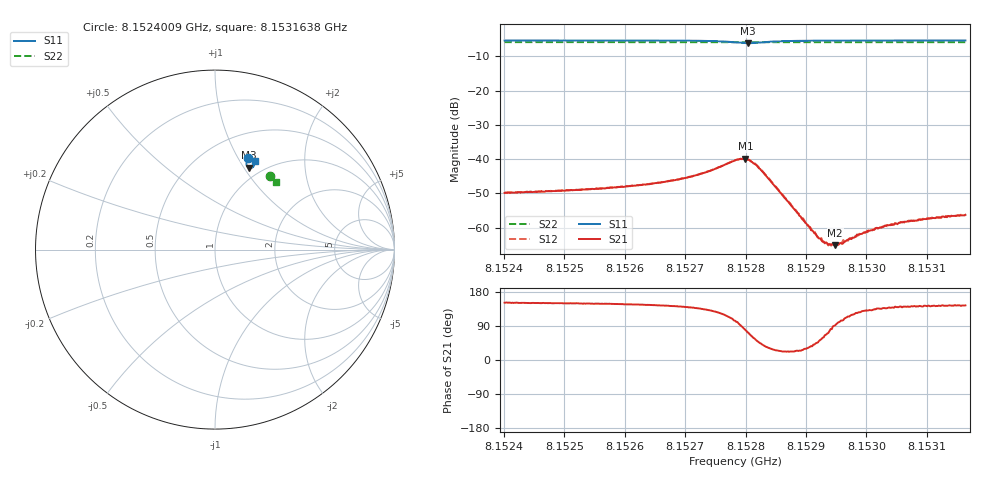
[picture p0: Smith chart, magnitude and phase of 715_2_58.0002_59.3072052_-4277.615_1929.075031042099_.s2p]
#  HZ  S  RI  R  50.00
! Rohde & Schwarz Vector Network Analyzer
! Rohde-Schwarz,ZNB20-2Port,1311601062101988,3.16
! Created: UTC 3/21/2024, 1:22:20 AM
! freq[Hz]  re:S11  im:S11  re:S21  im:S21  re:S12  im:S12  re:S22  im:S22
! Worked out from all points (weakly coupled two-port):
!   401 points, 8.1524009 GHz to 8.1531638 GHz, reference 50 ohm
!   highest |S21| = -39.89 dB at 8.1527995 GHz (marker M1); lowest = -65.1 dB at 8.1529483 GHz (marker M2)
!   lowest |S11| = -6.1 dB at 8.1528033 GHz (marker M3), VSWR 2.95, Z = 43.8 + j52.7 ohm
!   |S11| at or under -10 dB: nowhere
!   |S22| runs from -5.9 to -5.8 dB; largest |S21 - S12| = 0.00039
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8.15240087e9  0.183 0.5086  -0.00281 0.00154  -0.00281 0.00159  0.3058 0.4097
8.15252866e9  0.193 0.5047  -0.00306 0.00182  -0.00308 0.0019  0.3121 0.4046
8.15260114e9  0.1995 0.5018  -0.00332 0.00215  -0.00333 0.00222  0.3157 0.4018
8.15265645e9  0.2052 0.4986  -0.00367 0.00263  -0.00365 0.00269  0.3184 0.3993
8.15268697e9  0.209 0.4959  -0.00394 0.0031  -0.00392 0.00317  0.32 0.398
8.15272321e9  0.2143 0.4903  -0.00431 0.00416  -0.00427 0.00426  0.3217 0.3964
8.15278234e9  0.2131 0.4615  -0.00226 0.0093  -0.00217 0.00934  0.324 0.3931
8.1527995e9  0.1946 0.4545  0.00187 0.00995  0.00191 0.00997  0.3241 0.3924
8.15280332e9  0.1896 0.4557  0.00284 0.00935  0.00288 0.00948  0.3242 0.3923
8.15281476e9  0.1782 0.4649  0.0047 0.00711  0.00485 0.00719  0.3244 0.3924
8.15282811e9  0.1753 0.4785  0.00501 0.00416  0.00512 0.0042  0.3252 0.3923
8.15291013e9  0.1981 0.4987  0.000733 0.000537  0.000735 0.000538  0.33 0.3894
8.15291966e9  0.1998 0.4986  0.000499 0.000526  0.000486 0.000522  0.3305 0.3891
8.15293111e9  0.2016 0.4985  0.000244 0.000534  0.000257 0.000528  0.3312 0.3886
8.15293874e9  0.2028 0.4985  0.000132 0.000548  0.000152 0.000557  0.3315 0.3884
8.15294827e9  0.204 0.4983  -1.8e-05 0.000558  -1.17e-05 0.00059  0.332 0.3877
8.1529559e9  0.2052 0.4982  -0.000114 0.000582  -8.94e-05 0.000554  0.3323 0.3876
8.15299977e9  0.2102 0.4971  -0.000562 0.000653  -0.000556 0.000674  0.3345 0.3855
8.15303792e9  0.214 0.4961  -0.000811 0.000715  -0.000805 0.000739  0.3363 0.3841
8.15305699e9  0.2155 0.4956  -0.000933 0.000755  -0.000907 0.000789  0.3372 0.3831
8.15310277e9  0.2195 0.4943  -0.00108 0.000795  -0.00107 0.000866  0.3393 0.3811
8.1531638e9  0.2243 0.4925  -0.00124 0.000899  -0.0012 0.000918  0.3422 0.3785
